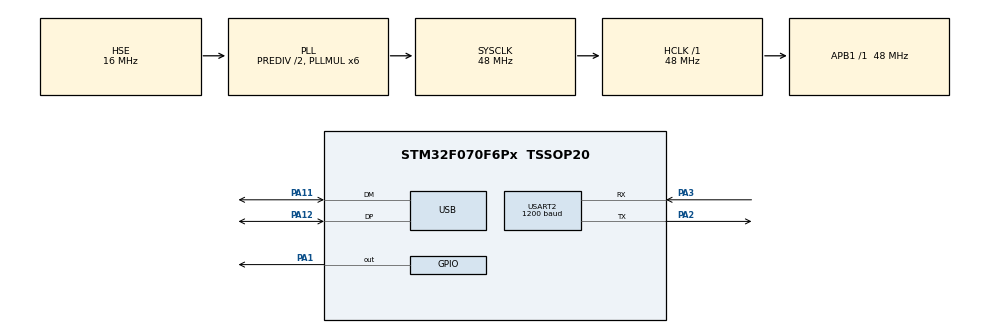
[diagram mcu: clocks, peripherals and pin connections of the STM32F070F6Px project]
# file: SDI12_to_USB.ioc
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Mcu.Family=STM32F0
Mcu.Name=STM32F070F6Px
Mcu.Package=TSSOP20
NVIC.USB_IRQn=true\:0\:0\:false\:false\:true\:false\:true\:true
PA1.GPIO_PuPd=GPIO_PULLDOWN
PA1.Signal=GPIO_Output
PA11.Mode=Device
PA11.Signal=USB_DM
PA12.Mode=Device
PA12.Signal=USB_DP
PA13.Mode=Serial_Wire
PA13.Signal=SYS_SWDIO
PA14.Mode=Serial_Wire
PA14.Signal=SYS_SWCLK
PA2.Mode=Asynchronous
PA2.Signal=USART2_TX
PA3.Mode=Asynchronous
PA3.Signal=USART2_RX
PF0-OSC_IN.Mode=HSE-External-Oscillator
PF0-OSC_IN.Signal=RCC_OSC_IN
PF1-OSC_OUT.Mode=HSE-External-Oscillator
PF1-OSC_OUT.Signal=RCC_OSC_OUT
ProjectManager.HeapSize=0x200
ProjectManager.StackSize=0x400
ProjectManager.TargetToolchain=STM32CubeIDE
RCC.AHBFreq_Value=48000000
RCC.APB1Freq_Value=48000000
RCC.APB1TimFreq_Value=48000000
RCC.HCLKFreq_Value=48000000
RCC.HSE_VALUE=16000000
RCC.PLLDivider=RCC_PREDIV_DIV2
RCC.PLLMUL=RCC_PLL_MUL6
RCC.SYSCLKFreq_VALUE=48000000
RCC.SYSCLKSource=RCC_SYSCLKSOURCE_PLLCLK
USART2.BaudRate=1200
USART2.VirtualMode-Asynchronous=VM_ASYNC
USB_DEVICE.APP_RX_DATA_SIZE=512
USB_DEVICE.APP_TX_DATA_SIZE=512
USB_DEVICE.CLASS_NAME_FS=CDC
USB_DEVICE.USBD_MAX_STR_DESC_SIZ=256
USB_DEVICE.VirtualMode=Cdc
USB_DEVICE.VirtualModeFS=Cdc_FS
VP_SYS_VS_PINREMAP.Mode=PINREMAP
VP_USB_DEVICE_VS_USB_DEVICE_CDC_FS.Mode=CDC_FS
board=custom

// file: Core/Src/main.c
/* USER CODE BEGIN Header */
/**
  ******************************************************************************
  * @file           : main.c
  * @brief          : Main program body
  ******************************************************************************
  * @attention
  *
  * Copyright (c) 2025 STMicroelectronics.
  * All rights reserved.
  *
  * This software is licensed under terms that can be found in the LICENSE file
  * in the root directory of this software component.
  * If no LICENSE file comes with this software, it is provided AS-IS.
  *
  ******************************************************************************
  */
/* USER CODE END Header */
#include "main.h"
#include "usb_device.h"

/* USER CODE BEGIN Includes */
#include "usbd_cdc_if.h"
/* USER CODE END Includes */

/* USER CODE BEGIN PD */

#define USB_BUFLEN 128

/* USER CODE END PD */

UART_HandleTypeDef huart2;

/* USER CODE BEGIN PV */

uint8_t usbTxBuf[USB_BUFLEN];
uint16_t usbTxBufLen;

uint16_t usbRxBufLen;
uint8_t usbRxBuf[USB_BUFLEN];
uint8_t usbRxFlag = 0;

/* USER CODE END PV */

void SystemClock_Config(void);
static void MX_GPIO_Init(void);
static void MX_USART2_UART_Init(void);

/* USER CODE BEGIN 0 */
void rxcb(uint8_t* buf, uint32_t *len) {
	memcpy(usbRxBuf, buf, *len);
	usbRxBufLen = *len;
	usbRxFlag = 1;
}
/* USER CODE END 0 */

int main(void)
{

  /* MCU Configuration--------------------------------------------------------*/

  /* Reset of all peripherals, Initializes the Flash interface and the Systick. */
  HAL_Init();

  /* Configure the system clock */
  SystemClock_Config();

  /* Initialize all configured peripherals */
  MX_GPIO_Init();
  MX_USART2_UART_Init();
  MX_USB_DEVICE_Init();
  /* USER CODE BEGIN 2 */

  usbTxBufLen = snprintf((char*)usbTxBuf, USB_BUFLEN, "Starting VCOM");
  CDC_Transmit_FS(usbTxBuf, usbTxBufLen);

  /* USER CODE END 2 */

  /* Infinite loop */
  while (1)
  {

    /* USER CODE BEGIN 3 */
	  if (usbRxFlag) {
		  // Do the uart sending here
		  HAL_StatusTypeDef ret;
		  USBD_StatusTypeDef usbret;
		  uint8_t uart_buffer[20];
		  ret = HAL_UART_Transmit(&huart2, usbRxBuf, usbRxBufLen, 300); // assumedly the timeout is 100ms, not us or s.
		  if(ret != HAL_OK) {
			  printf("HAL Transmit Failed %d", ret);
		  }

		  ret = HAL_UART_Receive(&huart2, uart_buffer, sizeof(uart_buffer), 300); // same as above for timeout, unsure amount of data that should be read.
		  if(ret != HAL_OK) {
			  printf("HAL Rec Failed %d", ret);
		  }
		  // Transmit the resp back to the laptop
		  usbTxBufLen = sizeof(uart_buffer);
		  memcpy(usbTxBuf, uart_buffer, usbTxBufLen);

		  usbret = CDC_Transmit_FS(usbTxBuf, usbTxBufLen);
		  if(usbret != USBD_OK) {
			  printf("CDC_Transmit Failed %d", usbret);
		  }
		  usbRxFlag = 0;
		  usbRxBufLen = 0;
	  }
  }
  /* USER CODE END 3 */
}

void SystemClock_Config(void)
{
  RCC_OscInitTypeDef RCC_OscInitStruct = {0};
  RCC_ClkInitTypeDef RCC_ClkInitStruct = {0};
  RCC_PeriphCLKInitTypeDef PeriphClkInit = {0};

  /** Initializes the RCC Oscillators according to the specified parameters
  * in the RCC_OscInitTypeDef structure.
  */
  RCC_OscInitStruct.OscillatorType = RCC_OSCILLATORTYPE_HSE;
  RCC_OscInitStruct.HSEState = RCC_HSE_ON;
  RCC_OscInitStruct.PLL.PLLState = RCC_PLL_ON;
  RCC_OscInitStruct.PLL.PLLSource = RCC_PLLSOURCE_HSE;
  RCC_OscInitStruct.PLL.PLLMUL = RCC_PLL_MUL6;
  RCC_OscInitStruct.PLL.PREDIV = RCC_PREDIV_DIV2;
  if (HAL_RCC_OscConfig(&RCC_OscInitStruct) != HAL_OK)
  {
    Error_Handler();
  }

  /** Initializes the CPU, AHB and APB buses clocks
  */
  RCC_ClkInitStruct.ClockType = RCC_CLOCKTYPE_HCLK|RCC_CLOCKTYPE_SYSCLK
                              |RCC_CLOCKTYPE_PCLK1;
  RCC_ClkInitStruct.SYSCLKSource = RCC_SYSCLKSOURCE_PLLCLK;
  RCC_ClkInitStruct.AHBCLKDivider = RCC_SYSCLK_DIV1;
  RCC_ClkInitStruct.APB1CLKDivider = RCC_HCLK_DIV1;

  if (HAL_RCC_ClockConfig(&RCC_ClkInitStruct, FLASH_LATENCY_1) != HAL_OK)
  {
    Error_Handler();
  }
  PeriphClkInit.PeriphClockSelection = RCC_PERIPHCLK_USB;
  PeriphClkInit.UsbClockSelection = RCC_USBCLKSOURCE_PLL;

  if (HAL_RCCEx_PeriphCLKConfig(&PeriphClkInit) != HAL_OK)
  {
    Error_Handler();
  }
}

static void MX_USART2_UART_Init(void)
{

  huart2.Instance = USART2;
  huart2.Init.BaudRate = 1200;
  huart2.Init.WordLength = UART_WORDLENGTH_8B;
  huart2.Init.StopBits = UART_STOPBITS_1;
  huart2.Init.Parity = UART_PARITY_NONE;
  huart2.Init.Mode = UART_MODE_TX_RX;
  huart2.Init.HwFlowCtl = UART_HWCONTROL_NONE;
  huart2.Init.OverSampling = UART_OVERSAMPLING_16;
  huart2.Init.OneBitSampling = UART_ONE_BIT_SAMPLE_DISABLE;
  huart2.AdvancedInit.AdvFeatureInit = UART_ADVFEATURE_NO_INIT;
  if (HAL_UART_Init(&huart2) != HAL_OK)
  {
    Error_Handler();
  }

}

static void MX_GPIO_Init(void)
{
  GPIO_InitTypeDef GPIO_InitStruct = {0};

  /* GPIO Ports Clock Enable */
  __HAL_RCC_GPIOF_CLK_ENABLE();
  __HAL_RCC_GPIOA_CLK_ENABLE();

  /*Configure GPIO pin Output Level */
  HAL_GPIO_WritePin(GPIOA, GPIO_PIN_1, GPIO_PIN_RESET);

  /*Configure GPIO pin : PA1 */
  GPIO_InitStruct.Pin = GPIO_PIN_1;
  GPIO_InitStruct.Mode = GPIO_MODE_OUTPUT_PP;
  GPIO_InitStruct.Pull = GPIO_PULLDOWN;
  GPIO_InitStruct.Speed = GPIO_SPEED_FREQ_LOW;
  HAL_GPIO_Init(GPIOA, &GPIO_InitStruct);

}

void Error_Handler(void)
{
  __disable_irq();
  while (1)
  {
  }
}
